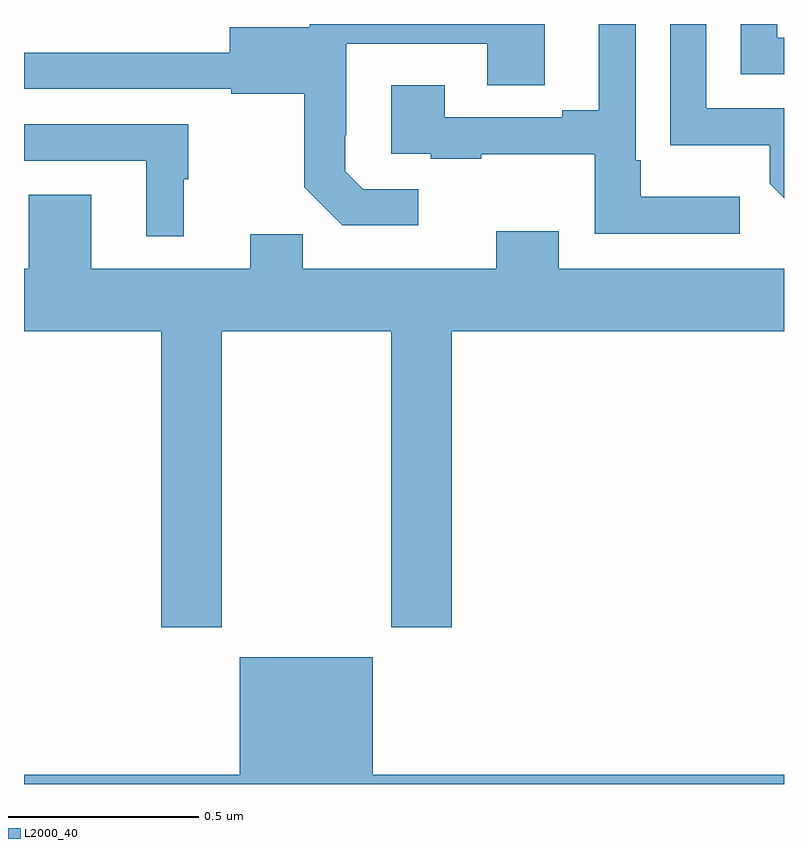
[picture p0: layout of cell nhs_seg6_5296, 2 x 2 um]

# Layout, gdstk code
import gdstk
lib = gdstk.Library(unit=1e-6, precision=1e-09)
def P(c, l, *ps):  # polygons
    for p in ps: c.add(gdstk.Polygon(p, *l))
L2000_40 = (2000, 40)

nhs_seg6_5296 = lib.new_cell('nhs_seg6_5296')
P(nhs_seg6_5296, L2000_40, [(183,925.464),(182.982,925.464),(182.982,925.5),(182.886,925.5),(182.886,925.368),(183,925.368)],
  [(183,925.278),(182.796,925.278),(182.796,925.5),(182.7,925.5),(182.7,925.181),(182.962,925.181),(182.962,925.079),(183,925.041)],
  [(182.038,925.065),(181.893,925.065),(181.846,925.112),(181.846,925.207),(181.848,925.207),(181.848,925.448),(182.219,925.448),(182.219,925.339),(182.371,925.339),(182.371,925.5),(181.752,925.5),(181.752,925.492),(181.541,925.492),(181.541,925.425),(181,925.425),(181,925.329),(181.545,925.329),(181.545,925.317),(181.737,925.317),(181.737,925.071),(181.837,924.971),(182.038,924.971)],
  [(182.884,925.045),(182.623,925.045),(182.623,925.141),(182.61,925.141),(182.61,925.5),(182.513,925.5),(182.513,925.273),(182.417,925.273),(182.417,925.254),(182.107,925.254),(182.107,925.339),(181.967,925.339),(181.967,925.158),(182.071,925.158),(182.071,925.146),(182.203,925.146),(182.203,925.157),(182.502,925.157),(182.502,924.948),(182.884,924.948)],
  [(181.42,925.092),(181.432,925.092),(181.432,925.236),(181,925.236),(181,925.14),(181.322,925.14),(181.322,924.941),(181.42,924.941)],
  [(181.521,924.692),(181.966,924.692),(181.966,923.913),(182.126,923.913),(182.126,924.692),(183,924.692),(183,924.856),(182.407,924.856),(182.407,924.955),(182.243,924.955),(182.243,924.856),(181.733,924.856),(181.733,924.947),(181.595,924.947),(181.595,924.856),(181.177,924.856),(181.177,925.051),(181.013,925.051),(181.013,924.856),(181,924.856),(181,924.692),(181.361,924.692),(181.361,923.913),(181.521,923.913)],
  [(183,923.524),(181.918,923.524),(181.918,923.833),(181.568,923.833),(181.568,923.524),(181,923.524),(181,923.5),(183,923.5)])

lib.write_gds('nhs_seg6_5296.gds')
